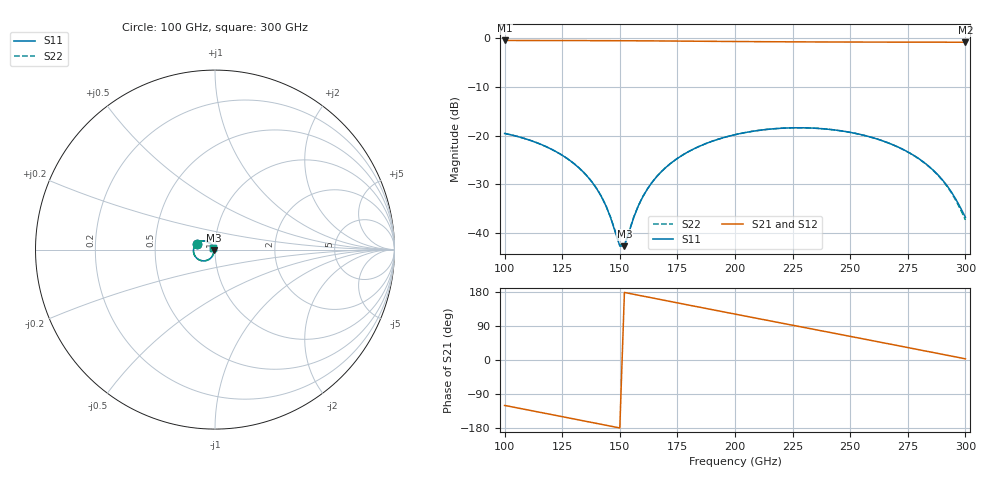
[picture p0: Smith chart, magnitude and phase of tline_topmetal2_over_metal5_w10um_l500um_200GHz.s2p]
#  GHZ S DB R 50
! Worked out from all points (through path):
!   101 points, 100 GHz to 300 GHz, reference 50 ohm
!   highest |S21| = -0.50 dB at 100 GHz (marker M1); lowest = -0.9 dB at 300 GHz (marker M2)
!   group delay of S21, straight-line fit = 3.29 ps
!   lowest |S11| = -42.7 dB at 152 GHz (marker M3), VSWR 1.01, Z = 49.3 - j0.31 ohm
!   |S11| at or under -10 dB: start of sweep to end of sweep
!   |S22| runs from -42.4 to -18.4 dB; largest |S21 - S12| = 1.1e-14
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100  -19.57 162.2  -0.50 -119.9  -0.50 -119.9  -19.56 162.4
120  -22.72 139.6  -0.52 -143.6  -0.52 -143.6  -22.71 139.9
128  -24.99 131.5  -0.53 -153.1  -0.53 -153.1  -24.98 131.9
134  -27.40 126.5  -0.54 -160.2  -0.54 -160.2  -27.38 127.0
142  -32.50 124.5  -0.55 -169.8  -0.55 -169.8  -32.46 125.1
146  -36.81 131.3  -0.55 -174.6  -0.55 -174.6  -36.72 132.2
150  -42.64 167.5  -0.56 -179.4  -0.56 -179.4  -42.38 168.0
152  -42.67 -154.7  -0.56 178.2  -0.56 178.2  -42.43 -155.3
156  -36.84 -118.2  -0.57 173.5  -0.57 173.5  -36.79 -118.8
160  -32.52 -111.2  -0.58 168.7  -0.58 168.7  -32.50 -111.6
168  -27.41 -113.2  -0.61 159.1  -0.61 159.1  -27.41 -113.3
174  -25.01 -118.0  -0.63 152.0  -0.63 152.0  -25.01 -118.1
182  -22.76 -125.8  -0.66 142.5  -0.66 142.5  -22.76 -125.8
200  -19.82 -144.7  -0.72 121.2  -0.72 121.2  -19.82 -144.7
218  -18.57 -164.2  -0.77 100.0  -0.77 100.0  -18.56 -164.1
234  -18.48 178.5  -0.81 81.2  -0.81 81.2  -18.48 178.5
250  -19.34 161.3  -0.83 62.4  -0.83 62.4  -19.35 161.3
268  -21.78 143.0  -0.84 41.1  -0.84 41.1  -21.79 142.9
280  -24.80 132.9  -0.85 26.9  -0.85 26.9  -24.84 132.4
288  -28.01 129.1  -0.86 17.4  -0.86 17.4  -28.09 128.2
294  -31.61 131.6  -0.86 10.3  -0.86 10.3  -31.78 130.2
300  -36.74 151.9  -0.87 3.1  -0.87 3.1  -37.27 150.3
